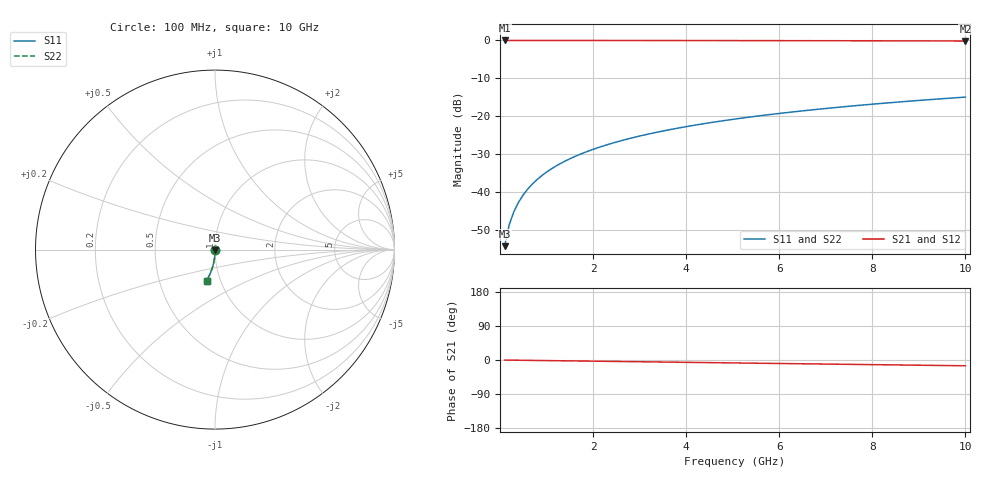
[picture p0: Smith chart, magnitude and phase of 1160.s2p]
# Hz S RI R 50.00
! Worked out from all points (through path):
!   100 points, 100 MHz to 10 GHz, reference 50 ohm
!   highest |S21| = -0.01 dB at 100 MHz (marker M1); lowest = -0.1 dB at 10 GHz (marker M2)
!   group delay of S21, straight-line fit = 4.24 ps
!   lowest |S11| = -54.3 dB at 100 MHz (marker M3), VSWR 1.00, Z = 50.1 - j0.183 ohm
!   |S11| at or under -10 dB: start of sweep to end of sweep
!   |S22| runs from -54.3 to -15.0 dB; largest |S21 - S12| = 0
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1e8  0.000599 -0.00183  0.9994 -0.00269  0.9994 -0.00269  0.000599 -0.00183
2e8  0.000586 -0.00365  0.9994 -0.00537  0.9994 -0.00537  0.000586 -0.00365
3e8  0.000563 -0.00548  0.9993 -0.00806  0.9993 -0.00806  0.000563 -0.00548
4e8  0.000529 -0.0073  0.9993 -0.0107  0.9993 -0.0107  0.000529 -0.0073
5e8  0.000485 -0.00913  0.9992 -0.0134  0.9992 -0.0134  0.000485 -0.00913
6e8  0.00043 -0.011  0.9992 -0.0161  0.9992 -0.0161  0.00043 -0.011
7e8  0.000366 -0.0128  0.9991 -0.0188  0.9991 -0.0188  0.000366 -0.0128
8e8  0.000292 -0.0146  0.999 -0.0215  0.999 -0.0215  0.000292 -0.0146
9e8  0.000208 -0.0164  0.9989 -0.0242  0.9989 -0.0242  0.000208 -0.0164
1.1e9  1.08e-05 -0.0201  0.9987 -0.0295  0.9987 -0.0295  1.08e-05 -0.0201
1.4e9  -0.000359 -0.0255  0.9983 -0.0376  0.9983 -0.0376  -0.000359 -0.0255
1.8e9  -0.000989 -0.0328  0.9976 -0.0483  0.9976 -0.0483  -0.000989 -0.0328
2.1e9  -0.00156 -0.0382  0.997 -0.0563  0.997 -0.0563  -0.00156 -0.0382
2.5e9  -0.00247 -0.0455  0.996 -0.067  0.996 -0.067  -0.00247 -0.0455
2.9e9  -0.00352 -0.0527  0.9949 -0.0776  0.9949 -0.0776  -0.00352 -0.0527
3.4e9  -0.00506 -0.0617  0.9932 -0.0909  0.9932 -0.0909  -0.00506 -0.0617
4.2e9  -0.00802 -0.0759  0.99 -0.112  0.99 -0.112  -0.00802 -0.0759
5.1e9  -0.0121 -0.0917  0.9856 -0.1356  0.9856 -0.1356  -0.0121 -0.0917
5.9e9  -0.0163 -0.1056  0.9811 -0.1563  0.9811 -0.1563  -0.0163 -0.1056
6.7e9  -0.0211 -0.1192  0.9759 -0.1769  0.9759 -0.1769  -0.0211 -0.1192
8.4e9  -0.033 -0.1472  0.9629 -0.2196  0.9629 -0.2196  -0.033 -0.1472
1e10  -0.0465 -0.1724  0.9484 -0.2586  0.9484 -0.2586  -0.0465 -0.1724
